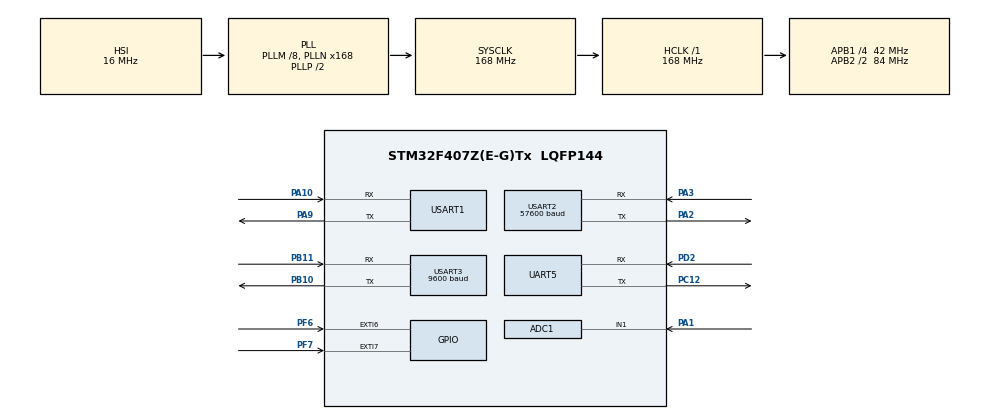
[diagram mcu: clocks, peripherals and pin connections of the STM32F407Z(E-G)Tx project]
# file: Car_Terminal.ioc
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ADC1.Channel-0\#ChannelRegularConversion=ADC_CHANNEL_1
ADC1.ClockPrescaler=ADC_CLOCK_SYNC_PCLK_DIV6
ADC1.NbrOfConversionFlag=1
ADC1.Rank-0\#ChannelRegularConversion=1
ADC1.SamplingTime-0\#ChannelRegularConversion=ADC_SAMPLETIME_3CYCLES
ADC1.master=1
Mcu.Family=STM32F4
Mcu.Name=STM32F407Z(E-G)Tx
Mcu.Package=LQFP144
NVIC.EXTI9_5_IRQn=true\:14\:0\:true\:false\:true\:true\:true\:true
NVIC.PriorityGroup=NVIC_PRIORITYGROUP_4
NVIC.RCC_IRQn=true\:0\:0\:false\:false\:true\:true\:false\:true
NVIC.TIM2_IRQn=true\:15\:0\:true\:false\:true\:true\:true\:true
PA1.Signal=ADCx_IN1
PA10.Mode=Asynchronous
PA10.Signal=USART1_RX
PA2.Mode=Asynchronous
PA2.Signal=USART2_TX
PA3.Mode=Asynchronous
PA3.Signal=USART2_RX
PA9.Mode=Asynchronous
PA9.Signal=USART1_TX
PB10.Mode=Asynchronous
PB10.Signal=USART3_TX
PB11.Mode=Asynchronous
PB11.Signal=USART3_RX
PC12.Mode=Asynchronous
PC12.Signal=UART5_TX
PD2.Mode=Asynchronous
PD2.Signal=UART5_RX
PF6.GPIO_ModeDefaultEXTI=GPIO_MODE_IT_FALLING
PF6.GPIO_PuPd=GPIO_PULLUP
PF6.Signal=GPXTI6
PF7.GPIO_ModeDefaultEXTI=GPIO_MODE_IT_RISING
PF7.GPIO_PuPd=GPIO_PULLDOWN
PF7.Signal=GPXTI7
ProjectManager.HeapSize=0x200
ProjectManager.StackSize=0x400
ProjectManager.TargetToolchain=MDK-ARM V5
RCC.48MHZClocksFreq_Value=84000000
RCC.AHBFreq_Value=168000000
RCC.APB1CLKDivider=RCC_HCLK_DIV4
RCC.APB1Freq_Value=42000000
RCC.APB1TimFreq_Value=84000000
RCC.APB2CLKDivider=RCC_HCLK_DIV2
RCC.APB2Freq_Value=84000000
RCC.APB2TimFreq_Value=168000000
RCC.CortexFreq_Value=168000000
RCC.HCLKFreq_Value=168000000
RCC.HSE_VALUE=25000000
RCC.HSI_VALUE=16000000
RCC.LSE_VALUE=32768
RCC.PLLM=8
RCC.PLLN=168
RCC.SYSCLKFreq_VALUE=168000000
RCC.SYSCLKSource=RCC_SYSCLKSOURCE_PLLCLK
RCC.VCOOutputFreq_Value=336000000
SH.ADCx_IN1.0=ADC1_IN1,IN1
TIM2.AutoReloadPreload=TIM_AUTORELOAD_PRELOAD_ENABLE
TIM2.ClockDivision=TIM_CLOCKDIVISION_DIV4
TIM2.CounterMode=TIM_COUNTERMODE_DOWN
TIM2.Period=6000
TIM2.Prescaler=42000
UART5.VirtualMode=Asynchronous
USART1.VirtualMode=VM_ASYNC
USART2.BaudRate=57600
USART2.VirtualMode=VM_ASYNC
USART3.BaudRate=9600
USART3.VirtualMode=VM_ASYNC
VP_TIM2_VS_ClockSourceINT.Mode=Internal
board=custom

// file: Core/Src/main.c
/* USER CODE BEGIN Header */
/**
  ******************************************************************************
  * @file           : main.c
  * @brief          : Main program body
  ******************************************************************************
  * @attention
  *
  * Copyright (c) 2024 STMicroelectronics.
  * All rights reserved.
  *
  * This software is licensed under terms that can be found in the LICENSE file
  * in the root directory of this software component.
  * If no LICENSE file comes with this software, it is provided AS-IS.
  *
  ******************************************************************************
  */
/* USER CODE END Header */
#include "main.h"
#include "adc.h"
#include "tim.h"
#include "usart.h"
#include "gpio.h"

/* USER CODE BEGIN Includes */
#include "MyCallbackFunc.h"
#include "string.h"
#include "AS608.h"
#include "AES128.h"
#include "syn6288.h"

/* USER CODE END Includes */

void SystemClock_Config(void);

/* USER CODE BEGIN 0 */
uint8_t count=0;
extern uint8_t step;
extern uint8_t Resule_AlcoholTest;
extern volatile uint8_t Result_fgPrt;//指纹测试结果
extern volatile uint8_t playSoundFlag ;//音乐播放开关
extern uint8_t SYN_StopCom[] ; //停止合成
extern uint8_t SYN_SuspendCom[]; //暂停合成
extern uint8_t SYN_RecoverCom[]; //恢复合成
extern uint8_t SYN_ChackCom[] ; //状濁查诿
extern uint8_t SYN_PowerDownCom[] ; //进入POWER DOWN 状濁命仿
extern volatile uint8_t Start_AlcoholTest;
extern volatile uint8_t Alcohol_threshold;
extern uint8_t num;

/* USER CODE END 0 */

int main(void)
{
  /* USER CODE BEGIN 1 */

	//数据加密解密示例

//AES128_HANDLE AES128_Handle;
//	uint8_t DataBuff[64];//霿要加密的数据
//        uint8_t key[16];//钥匙key
//		uint32_t len;//加密的长庿
//				memset(key, 0, 16);//将key清零
//	key[0] = '1';//设置钥匙丿1其余全零
//    AES128_SetKey(&AES128_Handle, key);//AES128设置KEY，?过key获得对应的句柿
//	len = AES128_EncryptData(&AES128_Handle, DataBuff, 20);//通过句柄去去对数据进行加寿
//	AES128_DecryptData(&AES128_Handle, DataBuff, len);	//子操使:AES128解密128bit数据，len表示要解密数据的长度
  /* USER CODE END 1 */

  /* MCU Configuration--------------------------------------------------------*/

  /* Reset of all peripherals, Initializes the Flash interface and the Systick. */
  HAL_Init();

  /* Configure the system clock */
  SystemClock_Config();

  /* Initialize all configured peripherals */
  MX_GPIO_Init();
  MX_ADC1_Init();
  MX_TIM2_Init();
  MX_USART1_UART_Init();
  MX_USART2_UART_Init();
  MX_USART3_UART_Init();
  MX_UART5_Init();
  /* USER CODE BEGIN 2 */
	//htim2.Instance->ARR=6000;

	HAL_TIM_Base_Start_IT(&htim2);

	//选择背景音乐2?(0：无背景音乐  1-15：背景音乐可逿)
		//m[0~16]:0背景音乐为静音，16背景音乐音量朿夿
		//v[0~16]:0朗读音量为静音，16朗读音量朿夿
		//t[0~5]:0朗读语?最慢，5朗读语?最忿
		//其他不常用功能请参迃数据手冿
		//SYN_FrameInfo(2, "[v7][m1][t5]欢迎使用绿深旗舰店SYN6288语音合成模块");
		//暂停合成，此时没有用到，用于展示函数用法
		//YS_SYN_Set(SYN_SuspendCom);

//
  /* USER CODE END 2 */

  /* Infinite loop */
  while (1)
  {

    /* USER CODE BEGIN 3 */
		if( step==1 && playSoundFlag==1)//当前为第一步，且打开了语音
		{
			playSoundFlag=0;//置零等待触发
			SYN_FrameInfo(0, (uint8_t *)"[v7][m1][t5]请验证指纹");

		}
		else if(step==2 )
		{

			if(playSoundFlag)
			{
				playSoundFlag=0;
				SYN_FrameInfo(0, (uint8_t *)"[v7][m1][t5]指纹验证成功，请进行酒精验证");

			}

			if(Result_fgPrt)
			{

		if(Start_AlcoholTest==1)
		{

		step=3;
		uint8_t hp=10;//超时退出
		uint8_t num_value=20;
		uint16_t max_adcValue=0;

		while(hp--)
		{

			HAL_ADC_Start_IT(&hadc1);
			HAL_ADC_PollForConversion(&hadc1,100);//等待ADC转换完成
			uint32_t adcValue = HAL_ADC_GetValue(&hadc1);
			if(max_adcValue<adcValue)//获取最大值
			{
				max_adcValue=adcValue;

			}

			if(num_value<=0)
			{

				break;

			}

		}
		HAL_ADC_Stop_IT(&hadc1);
		float f1=max_adcValue /4095.0;
		float f2=(3.3 / 5.0)*1000.0;

		float alcoholPpm = f1*f2;//将电压值转化成ppm为单位的值
		uint8_t bac=(uint8_t)(0.21*alcoholPpm);//

			HAL_TIM_Base_Stop_IT(&htim2);//先关闭定时器
			htim2.Instance->ARR=12000;//设置间隔时间
			HAL_TIM_Base_Start_IT(&htim2);
		if(bac<=Alcohol_threshold)
		{
			num=3;
			Resule_AlcoholTest=1;//通过酒精测试
		}else
		{
			num=0;
			Resule_AlcoholTest=0;

		}
		if(bac<=30)//矫正基础值
		{
			bac=0;

		}

		char str[32]="";
		uint8_t len=sprintf(str,"血液中酒精浓度为 : %d mg/100ml ",bac);
		HAL_UART_Transmit(&huart1,(uint8_t *)str,len,100);

	}

			}
			else
			{

				step=1;
				SYN_FrameInfo(0, (uint8_t *)"[v7][m1][t5]指纹验证失败");
				//HAL_TIM_Base_Start_IT(&htim2);

			}

		}

				else if( step==3 && playSoundFlag==1)//当前为第二步，且打开了语音
		{
			playSoundFlag=0;//置零等待触发
			if(Resule_AlcoholTest)
			{
			SYN_FrameInfo(0, (uint8_t *)"[v7][m1][t5]酒精测试通过，请启动车辆");
			}
			else
			{

				SYN_FrameInfo(0, (uint8_t *)"[v7][m1][t5]酒精测试未通过，请关闭车辆");
			}
		}

//		SYN_FrameInfo(0, (uint8_t *)"[v7][m1][t5]请按压手指");
//		HAL_Delay(1500);
//		HAL_Delay(1500);
//		HAL_Delay(1500);

  }
  /* USER CODE END 3 */
}

void SystemClock_Config(void)
{
  RCC_OscInitTypeDef RCC_OscInitStruct = {0};
  RCC_ClkInitTypeDef RCC_ClkInitStruct = {0};

  /** Configure the main internal regulator output voltage
  */
  __HAL_RCC_PWR_CLK_ENABLE();
  __HAL_PWR_VOLTAGESCALING_CONFIG(PWR_REGULATOR_VOLTAGE_SCALE1);

  /** Initializes the RCC Oscillators according to the specified parameters
  * in the RCC_OscInitTypeDef structure.
  */
  RCC_OscInitStruct.OscillatorType = RCC_OSCILLATORTYPE_HSI;
  RCC_OscInitStruct.HSIState = RCC_HSI_ON;
  RCC_OscInitStruct.HSICalibrationValue = RCC_HSICALIBRATION_DEFAULT;
  RCC_OscInitStruct.PLL.PLLState = RCC_PLL_ON;
  RCC_OscInitStruct.PLL.PLLSource = RCC_PLLSOURCE_HSI;
  RCC_OscInitStruct.PLL.PLLM = 8;
  RCC_OscInitStruct.PLL.PLLN = 168;
  RCC_OscInitStruct.PLL.PLLP = RCC_PLLP_DIV2;
  RCC_OscInitStruct.PLL.PLLQ = 4;
  if (HAL_RCC_OscConfig(&RCC_OscInitStruct) != HAL_OK)
  {
    Error_Handler();
  }

  /** Initializes the CPU, AHB and APB buses clocks
  */
  RCC_ClkInitStruct.ClockType = RCC_CLOCKTYPE_HCLK|RCC_CLOCKTYPE_SYSCLK
                              |RCC_CLOCKTYPE_PCLK1|RCC_CLOCKTYPE_PCLK2;
  RCC_ClkInitStruct.SYSCLKSource = RCC_SYSCLKSOURCE_PLLCLK;
  RCC_ClkInitStruct.AHBCLKDivider = RCC_SYSCLK_DIV1;
  RCC_ClkInitStruct.APB1CLKDivider = RCC_HCLK_DIV4;
  RCC_ClkInitStruct.APB2CLKDivider = RCC_HCLK_DIV2;

  if (HAL_RCC_ClockConfig(&RCC_ClkInitStruct, FLASH_LATENCY_5) != HAL_OK)
  {
    Error_Handler();
  }
}

void Error_Handler(void)
{
  __disable_irq();
  while (1)
  {
  }
}
